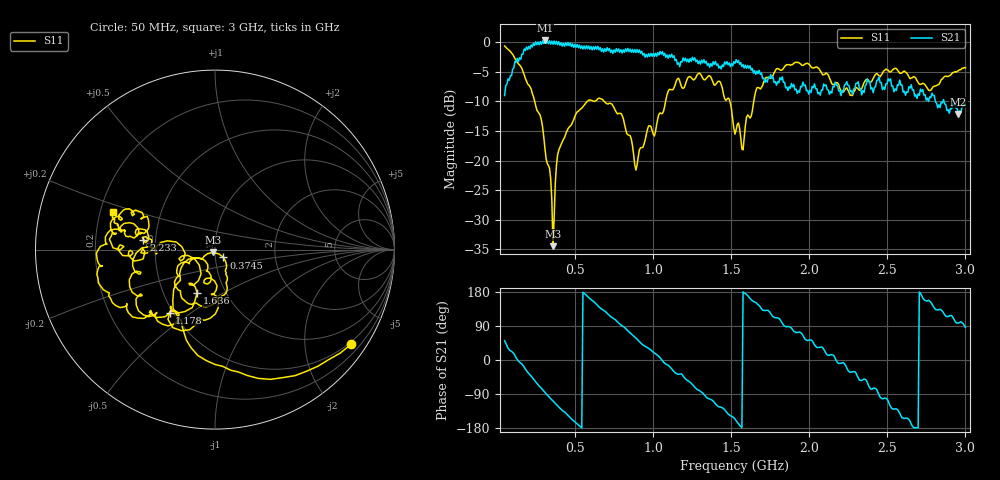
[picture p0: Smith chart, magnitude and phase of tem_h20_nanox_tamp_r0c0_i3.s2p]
! nanovna_capture.py 2026-10-26T21:53:06+0900
! NanoVNA-F_V2 fw 0.6.0 SN 4A3639384505514B
! cal: load open short thru cal'ed  over 50000000-3000000000 Hz, 201 points
! points 401, avg 4
! TEM h=20, tampered Nano X, 0 deg, centred, interleaved run T3
# HZ S RI R 50
! S12 and S22 are not measured (written as 0)
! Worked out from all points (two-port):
!   401 points, 50 MHz to 3 GHz, reference 50 ohm
!   highest |S21| = 0.26 dB at 308.1 MHz (marker M1); lowest = -12.2 dB at 2.956 GHz (marker M2)
!   |S21| within 3 dB of the highest: 154.8 MHz to 1.097 GHz (942.4 MHz wide, 151 % of centre); 1.097 GHz to 1.138 GHz (40.59 MHz wide, 3.63 % of centre) (the widest 2 of 7)
!   lowest |S11| = -34.4 dB at 359.8 MHz (marker M3), VSWR 1.04, Z = 49 - j1.56 ohm
!   |S11| at or under -10 dB: 242.5 MHz to 581.1 MHz (338.6 MHz wide, 82.2 % of centre); 686.9 MHz to 1.081 GHz (393.8 MHz wide, 44.6 % of centre); 1.492 GHz to 1.645 GHz (153.3 MHz wide, 9.77 % of centre) (the widest 3 of 4)
!   S12 and S22 are empty: the file has one direction only
!   S11 on the Smith chart (normalised r, x): 50 MHz: 0.43, -3.14; 374.5 MHz: 1.09, -0.10; 1.178 GHz: 0.48, -0.41; 1.636 GHz: 0.74, -0.38; 2.233 GHz: 0.43, +0.06; 3 GHz: 0.25, +0.17
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5e7  0.7594 -0.5271  0.2224 0.2743  0 0  0 0
1.75375e8  -0.1596 -0.5043  0.8276 -0.2821  0 0  0 0
3.08125e8  -0.118 -0.0454  0.0816 -1.027  0 0  0 0
3.5975e8  -0.0102 -0.016  -0.2986 -0.9102  0 0  0 0
3.745e8  0.0471 -0.0435  -0.3956 -0.8727  0 0  0 0
4.04e8  0.0576 -0.1157  -0.5656 -0.7493  0 0  0 0
5.44125e8  0.0181 -0.2759  -0.9274 -0.0149  0 0  0 0
7.80125e8  -0.2023 -0.1469  -0.1129 0.8667  0 0  0 0
8.9075e8  -0.0565 -0.061  0.432 0.6907  0 0  0 0
1.03825e9  -0.00585 -0.2459  0.7673 0.1212  0 0  0 0
1.178375e9  -0.2531 -0.3512  0.5484 -0.4063  0 0  0 0
1.325875e9  -0.4132 -0.2468  -0.0131 -0.7095  0 0  0 0
1.525e9  -0.1659 -0.0203  -0.6029 -0.2676  0 0  0 0
1.576625e9  -0.0879 -0.0858  -0.6448 0.00168  0 0  0 0
1.635625e9  -0.0999 -0.2406  -0.5494 0.2369  0 0  0 0
1.783125e9  -0.4306 -0.3816  -0.1702 0.4312  0 0  0 0
2.019125e9  -0.6056 0.032  0.2683 0.3253  0 0  0 0
2.233e9  -0.3986 0.056  0.4245 -0.108  0 0  0 0
2.51325e9  -0.5522 0.0868  -0.2104 -0.4203  0 0  0 0
2.653375e9  -0.4603 0.1886  -0.4278 -0.0841  0 0  0 0
2.95575e9  -0.5545 0.1452  -0.0323 0.2446  0 0  0 0
3e9  -0.5665 0.2108  0.021 0.2902  0 0  0 0
